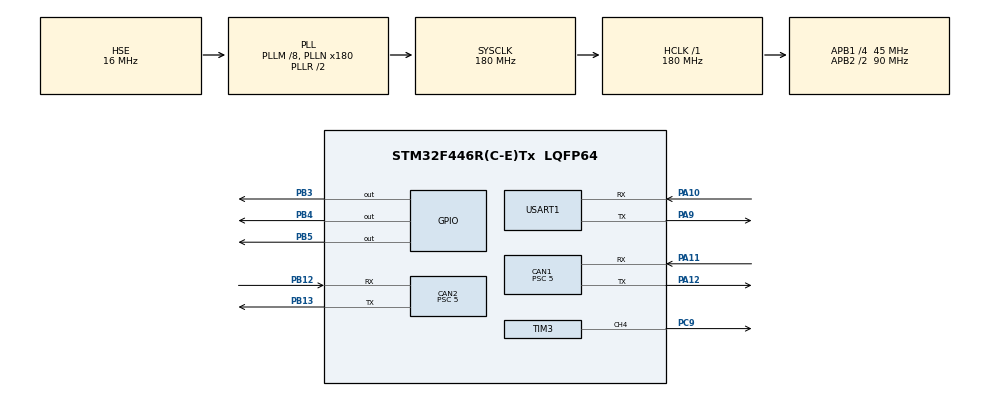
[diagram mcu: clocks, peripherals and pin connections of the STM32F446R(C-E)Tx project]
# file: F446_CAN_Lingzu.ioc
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CAN1.BS1=CAN_BS1_6TQ
CAN1.BS2=CAN_BS2_2TQ
CAN1.CalculateBaudRate=1000000
CAN1.CalculateTimeBit=1000
CAN1.CalculateTimeQuantum=111.11111111111111
CAN1.NART=DISABLE
CAN1.Prescaler=5
CAN2.BS1=CAN_BS1_6TQ
CAN2.BS2=CAN_BS2_2TQ
CAN2.CalculateBaudRate=1000000
CAN2.CalculateTimeBit=1000
CAN2.CalculateTimeQuantum=111.11111111111111
CAN2.NART=DISABLE
CAN2.Prescaler=5
FREERTOS.Tasks01=defaultTask,0,128,StartDefaultTask,Default,NULL,Dynamic,NULL,NULL;Motor_Contron_T,3,128,Motor_Contron_Task_Task,Default,NULL,Static,Motor_Contron_TaskBuffer,Motor_Contron_TaskControlBlock;CAN1_Decode_TAS,1,128,CAN1_Decode_Task,Default,NULL,Static,CAN1_Decode_TASBuffer,CAN1_Decode_TASControlBlock;CAN2_Decode_TAS,0,128,CAN2_Decode_Task,Default,NULL,Static,CAN2_Decode_TASBuffer,CAN2_Decode_TASControlBlock
FREERTOS.configUSE_NEWLIB_REENTRANT=1
Mcu.Family=STM32F4
Mcu.Name=STM32F446R(C-E)Tx
Mcu.Package=LQFP64
NVIC.CAN1_RX0_IRQn=true\:8\:0\:true\:false\:true\:true\:true\:true\:true
NVIC.CAN2_RX1_IRQn=true\:9\:0\:true\:false\:true\:true\:true\:true\:true
NVIC.PriorityGroup=NVIC_PRIORITYGROUP_4
NVIC.TIM1_UP_TIM10_IRQn=true\:15\:0\:false\:false\:true\:false\:false\:true\:true
NVIC.TimeBase=TIM1_UP_TIM10_IRQn
NVIC.TimeBaseIP=TIM1
NVIC.USART1_IRQn=true\:5\:0\:false\:false\:true\:true\:true\:true\:true
PA10.Mode=Asynchronous
PA10.Signal=USART1_RX
PA11.Mode=CAN_Activate
PA11.Signal=CAN1_RX
PA12.Mode=CAN_Activate
PA12.Signal=CAN1_TX
PA13.Mode=Serial_Wire
PA13.Signal=SYS_JTMS-SWDIO
PA14.Mode=Serial_Wire
PA14.Signal=SYS_JTCK-SWCLK
PA9.Mode=Asynchronous
PA9.Signal=USART1_TX
PB12.Mode=CAN_Activate
PB12.Signal=CAN2_RX
PB13.Mode=CAN_Activate
PB13.Signal=CAN2_TX
PB3.Signal=GPIO_Output
PB4.Signal=GPIO_Output
PB5.Signal=GPIO_Output
PC9.Signal=S_TIM3_CH4
PH0-OSC_IN.Mode=HSE-External-Oscillator
PH0-OSC_IN.Signal=RCC_OSC_IN
PH1-OSC_OUT.Mode=HSE-External-Oscillator
PH1-OSC_OUT.Signal=RCC_OSC_OUT
ProjectManager.HeapSize=0x200
ProjectManager.StackSize=0x400
ProjectManager.TargetToolchain=STM32CubeIDE
RCC.AHBFreq_Value=180000000
RCC.APB1CLKDivider=RCC_HCLK_DIV4
RCC.APB1Freq_Value=45000000
RCC.APB1TimFreq_Value=90000000
RCC.APB2CLKDivider=RCC_HCLK_DIV2
RCC.APB2Freq_Value=90000000
RCC.APB2TimFreq_Value=180000000
RCC.CortexFreq_Value=180000000
RCC.HCLKFreq_Value=180000000
RCC.HSE_VALUE=16000000
RCC.PLLM=8
RCC.PLLN=180
RCC.PLLSourceVirtual=RCC_PLLSOURCE_HSE
RCC.SYSCLKFreq_VALUE=180000000
RCC.SYSCLKSource=RCC_SYSCLKSOURCE_PLLRCLK
RCC.USBFreq_Value=180000000
RCC.VCOOutputFreq_Value=360000000
SH.S_TIM3_CH4.0=TIM3_CH4,PWM Generation4 CH4
TIM3.AutoReloadPreload=TIM_AUTORELOAD_PRELOAD_ENABLE
TIM3.Channel-PWM\ Generation4\ CH4=TIM_CHANNEL_4
TIM3.Period=500-1
TIM3.Prescaler=90-1
USART1.VirtualMode=VM_ASYNC
VP_FREERTOS_VS_CMSIS_V1.Mode=CMSIS_V1
VP_SYS_VS_tim1.Mode=TIM1
board=custom

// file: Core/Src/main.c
/* USER CODE BEGIN Header */
/**
  ******************************************************************************
  * @file           : main.c
  * @brief          : Main program body
  ******************************************************************************
  * @attention
  *
  * Copyright (c) 2024 STMicroelectronics.
  * All rights reserved.
  *
  * This software is licensed under terms that can be found in the LICENSE file
  * in the root directory of this software component.
  * If no LICENSE file comes with this software, it is provided AS-IS.
  *
  ******************************************************************************
  */
/* USER CODE END Header */
#include "main.h"
#include "cmsis_os.h"
#include "can.h"
#include "tim.h"
#include "usart.h"
#include "gpio.h"

void SystemClock_Config(void);
void MX_FREERTOS_Init(void);

int main(void)
{

  /* MCU Configuration--------------------------------------------------------*/

  /* Reset of all peripherals, Initializes the Flash interface and the Systick. */
  HAL_Init();

  /* Configure the system clock */
  SystemClock_Config();

  /* Initialize all configured peripherals */
  MX_GPIO_Init();
  MX_USART1_UART_Init();
  MX_CAN1_Init();
  MX_CAN2_Init();
  MX_TIM3_Init();

  /* Call init function for freertos objects (in freertos.c) */
  MX_FREERTOS_Init();

  /* Start scheduler */
  osKernelStart();

  /* We should never get here as control is now taken by the scheduler */
  /* Infinite loop */
  while (1)
  {

  }
}

void SystemClock_Config(void)
{
  RCC_OscInitTypeDef RCC_OscInitStruct = {0};
  RCC_ClkInitTypeDef RCC_ClkInitStruct = {0};

  /** Configure the main internal regulator output voltage
  */
  __HAL_RCC_PWR_CLK_ENABLE();
  __HAL_PWR_VOLTAGESCALING_CONFIG(PWR_REGULATOR_VOLTAGE_SCALE1);

  /** Initializes the RCC Oscillators according to the specified parameters
  * in the RCC_OscInitTypeDef structure.
  */
  RCC_OscInitStruct.OscillatorType = RCC_OSCILLATORTYPE_HSE;
  RCC_OscInitStruct.HSEState = RCC_HSE_ON;
  RCC_OscInitStruct.PLL.PLLState = RCC_PLL_ON;
  RCC_OscInitStruct.PLL.PLLSource = RCC_PLLSOURCE_HSE;
  RCC_OscInitStruct.PLL.PLLM = 8;
  RCC_OscInitStruct.PLL.PLLN = 180;
  RCC_OscInitStruct.PLL.PLLP = RCC_PLLP_DIV2;
  RCC_OscInitStruct.PLL.PLLQ = 2;
  RCC_OscInitStruct.PLL.PLLR = 2;
  if (HAL_RCC_OscConfig(&RCC_OscInitStruct) != HAL_OK)
  {
    Error_Handler();
  }

  /** Activate the Over-Drive mode
  */
  if (HAL_PWREx_EnableOverDrive() != HAL_OK)
  {
    Error_Handler();
  }

  /** Initializes the CPU, AHB and APB buses clocks
  */
  RCC_ClkInitStruct.ClockType = RCC_CLOCKTYPE_HCLK|RCC_CLOCKTYPE_SYSCLK
                              |RCC_CLOCKTYPE_PCLK1|RCC_CLOCKTYPE_PCLK2;
  RCC_ClkInitStruct.SYSCLKSource = RCC_SYSCLKSOURCE_PLLRCLK;
  RCC_ClkInitStruct.AHBCLKDivider = RCC_SYSCLK_DIV1;
  RCC_ClkInitStruct.APB1CLKDivider = RCC_HCLK_DIV4;
  RCC_ClkInitStruct.APB2CLKDivider = RCC_HCLK_DIV2;

  if (HAL_RCC_ClockConfig(&RCC_ClkInitStruct, FLASH_LATENCY_5) != HAL_OK)
  {
    Error_Handler();
  }
}

void HAL_TIM_PeriodElapsedCallback(TIM_HandleTypeDef *htim)
{
  if (htim->Instance == TIM1) {
    HAL_IncTick();
  }
}

void Error_Handler(void)
{
  __disable_irq();
  while (1)
  {
  }
}

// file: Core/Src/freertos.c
/* USER CODE BEGIN Header */
/**
  ******************************************************************************
  * File Name          : freertos.c
  * Description        : Code for freertos applications
  ******************************************************************************
  * @attention
  *
  * Copyright (c) 2024 STMicroelectronics.
  * All rights reserved.
  *
  * This software is licensed under terms that can be found in the LICENSE file
  * in the root directory of this software component.
  * If no LICENSE file comes with this software, it is provided AS-IS.
  *
  ******************************************************************************
  */
/* USER CODE END Header */

#include "FreeRTOS.h"
#include "task.h"
#include "main.h"
#include "cmsis_os.h"

/* USER CODE BEGIN Includes */
#include "usart.h"
#include "can.h"
#include "tim.h"
#include "math.h"

/* USER CODE END Includes */

/* USER CODE BEGIN PTD */
//声明
#define PI (3.1415926f)

#define BEEP_ON    __HAL_TIM_SET_COMPARE(&htim3,TIM_CHANNEL_4,400);
#define BEEP_OFF   __HAL_TIM_SET_COMPARE(&htim3,TIM_CHANNEL_4,0);

void Can_Bus_Motor_Init(void);

/* USER CODE END PTD */

osThreadId defaultTaskHandle;
osThreadId Motor_Contron_THandle;
uint32_t Motor_Contron_TaskBuffer[ 128 ];
osStaticThreadDef_t Motor_Contron_TaskControlBlock;
osThreadId CAN1_Decode_TASHandle;
uint32_t CAN1_Decode_TASBuffer[ 128 ];
osStaticThreadDef_t CAN1_Decode_TASControlBlock;
osThreadId CAN2_Decode_TASHandle;
uint32_t CAN2_Decode_TASBuffer[ 128 ];
osStaticThreadDef_t CAN2_Decode_TASControlBlock;

void StartDefaultTask(void const * argument);
void Motor_Contron_Task_Task(void const * argument);
void CAN1_Decode_Task(void const * argument);
void CAN2_Decode_Task(void const * argument);

void MX_FREERTOS_Init(void); /* (MISRA C 2004 rule 8.1) */

/* GetIdleTaskMemory prototype (linked to static allocation support) */
void vApplicationGetIdleTaskMemory( StaticTask_t **ppxIdleTaskTCBBuffer, StackType_t **ppxIdleTaskStackBuffer, uint32_t *pulIdleTaskStackSize );

/* USER CODE BEGIN GET_IDLE_TASK_MEMORY */
static StaticTask_t xIdleTaskTCBBuffer;
static StackType_t xIdleStack[configMINIMAL_STACK_SIZE];

void vApplicationGetIdleTaskMemory( StaticTask_t **ppxIdleTaskTCBBuffer, StackType_t **ppxIdleTaskStackBuffer, uint32_t *pulIdleTaskStackSize )
{
  *ppxIdleTaskTCBBuffer = &xIdleTaskTCBBuffer;
  *ppxIdleTaskStackBuffer = &xIdleStack[0];
  *pulIdleTaskStackSize = configMINIMAL_STACK_SIZE;
  /* place for user code */
}
/* USER CODE END GET_IDLE_TASK_MEMORY */

void MX_FREERTOS_Init(void) {

  /* Create the thread(s) */
  /* definition and creation of defaultTask */
  osThreadDef(defaultTask, StartDefaultTask, osPriorityNormal, 0, 128);
  defaultTaskHandle = osThreadCreate(osThread(defaultTask), NULL);

  /* definition and creation of Motor_Contron_T */
  osThreadStaticDef(Motor_Contron_T, Motor_Contron_Task_Task, osPriorityRealtime, 0, 128, Motor_Contron_TaskBuffer, &Motor_Contron_TaskControlBlock);
  Motor_Contron_THandle = osThreadCreate(osThread(Motor_Contron_T), NULL);

  /* definition and creation of CAN1_Decode_TAS */
  osThreadStaticDef(CAN1_Decode_TAS, CAN1_Decode_Task, osPriorityAboveNormal, 0, 128, CAN1_Decode_TASBuffer, &CAN1_Decode_TASControlBlock);
  CAN1_Decode_TASHandle = osThreadCreate(osThread(CAN1_Decode_TAS), NULL);

  /* definition and creation of CAN2_Decode_TAS */
  osThreadStaticDef(CAN2_Decode_TAS, CAN2_Decode_Task, osPriorityNormal, 0, 128, CAN2_Decode_TASBuffer, &CAN2_Decode_TASControlBlock);
  CAN2_Decode_TASHandle = osThreadCreate(osThread(CAN2_Decode_TAS), NULL);

}

void StartDefaultTask(void const * argument)
{
  /* USER CODE BEGIN StartDefaultTask */
	//配置滴答定时器的中断周期180000000 /10000U个机器周期（180Mhz），100us产生�????????次中�????????,即系统延时单位为0.1ms
	  HAL_SYSTICK_Config(180000000 /10000U);

  /* Infinite loop */
  for(;;)
  {
    LED0_ON
	osDelay(5000);//0.1ms
    LED0_OFF
	LED1_OFF
	LED2_OFF
    osDelay(5000);
  }
  /* USER CODE END StartDefaultTask */
}

/* USER CODE BEGIN Header_Motor_Contron_Task_Task */
/**
* @brief Function implementing the Motor_Contron_T thread.
* @param argument: Not used
* @retval None
*/

int run_count=0;
uint32_t err_spi;

//初始位置
float init_p_1=4;
float init_p_2=4;
//回零点的时间，ms
#define TO_ZERO_TIME 10000

float to_zero_speed=TO_ZERO_TIME;

int sin_time=12000;//正弦�?周期的时间，ms
float position_wide=0.5;//正弦角度范围rad

//初始化标�?
char init_flag=0;

//数据记录
float MAX_T=0;

/* USER CODE END Header_Motor_Contron_Task_Task */
void Motor_Contron_Task_Task(void const * argument)
{
  /* USER CODE BEGIN Motor_Contron_Task_Task */

	Can_Bus_Motor_Init();//电机初始�??
	HAL_TIM_PWM_Start(&htim3, TIM_CHANNEL_4);
	BEEP_ON
	osDelay(10000);
	BEEP_OFF

	//多发几次命令，读取初始角�?
	 ENABLE_ALL_MOTOR();
	 osDelay(500);
	 ENABLE_ALL_MOTOR();
	 osDelay(500);
	 ENABLE_ALL_MOTOR();
	 osDelay(500);

	//控制数据�?
	CAN_1.ID_1_Motor_send.position=0;
	CAN_1.ID_1_Motor_send.speed=0;
	CAN_1.ID_1_Motor_send.torque=0;
	CAN_1.ID_1_Motor_send.kp=60;
	CAN_1.ID_1_Motor_send.kd=2;

	CAN_2.ID_1_Motor_send.position=0;
	CAN_2.ID_1_Motor_send.speed=0;
	CAN_2.ID_1_Motor_send.torque=0;
	CAN_2.ID_1_Motor_send.kp=60;
	CAN_2.ID_1_Motor_send.kd=2;

	CAN_1.ID_4_Motor_send.position=0;
	CAN_1.ID_4_Motor_send.speed=1;
	CAN_1.ID_4_Motor_send.torque=0;
	CAN_1.ID_4_Motor_send.kp=0;
	CAN_1.ID_4_Motor_send.kd=0.5;

   //获取初始位置
	init_p_1=CAN_1.ID_1_Motor_recieve.current_position_f;
	init_p_2=CAN_2.ID_1_Motor_recieve.current_position_f;

	printf("init_p_1= %f rad",init_p_1);
	printf("init_p_2= %f rad",init_p_2);
  /* Infinite loop */
  for(;;)
  {
	run_count++;

	//回零
	if(init_flag==0)
	{
		if(to_zero_speed>0)
		{
			to_zero_speed--;
	       CAN_1.ID_1_Motor_send.position=init_p_1*(to_zero_speed/TO_ZERO_TIME);
	       CAN_2.ID_1_Motor_send.position=init_p_2*(to_zero_speed/TO_ZERO_TIME);
		}
		if(to_zero_speed<=0)
		{
			init_flag=1;
	        run_count=0;
		}
	}
	//正弦
	else if(init_flag==1)
	{
		CAN_1.ID_1_Motor_send.position=position_wide*sin(2.0*3.1415926*(float)run_count/sin_time);
		CAN_2.ID_1_Motor_send.position=position_wide*sin(2.0*3.1415926*(float)run_count/sin_time);
	}

	//RS04 CAN1
	CAN_Send_Control(&hcan1,&CAN_1.ID_1_Motor_send,CAN_TX_MAILBOX0);
	osDelay(2);//200US
	//RS04 CAN2
	CAN_Send_Control(&hcan2,&CAN_2.ID_1_Motor_send,CAN_TX_MAILBOX1);
	osDelay(2);//200US
	//RS02
	CAN_Send_Control(&hcan1,&CAN_1.ID_4_Motor_send,CAN_TX_MAILBOX0);
	osDelay(2);

	//
	if(CAN_1.ID_1_Motor_recieve.current_torque_f>MAX_T)MAX_T=CAN_1.ID_1_Motor_recieve.current_torque_f;

    //�?100ms打印�?�?
	if(run_count%100==0)
	{
	   //printf("Motor_Speed= %f rad/s = %f rpm \r\n\r\n",CAN_1.ID_4_Motor_recieve.current_speed_f,(CAN_1.ID_4_Motor_recieve.current_speed_f/2.0/3.141592*60));

		//printf("Motor_Position= %f rad\r\n",CAN_1.ID_1_Motor_recieve.current_position_f);

		printf("					Motor_Torque= %f NM 			MAX_T_back=  %f	NM\r\n\r\n",CAN_1.ID_1_Motor_recieve.current_torque_f,MAX_T);

		printf("Motor_Temp= %f C       fault_message=%d \r\n\r\n\r\n",CAN_1.ID_1_Motor_recieve.current_temp_f,CAN_1.ID_1_Motor_recieve.fault_message);
	}
	osDelay(4);//600us
  }
  /* USER CODE END Motor_Contron_Task_Task */
}

void CAN1_Decode_Task(void const * argument)
{
  /* USER CODE BEGIN CAN1_Decode_Task */
	uint32_t err;
  /* Infinite loop */
  for(;;)
  {
	  err=ulTaskNotifyTake(pdTRUE,portMAX_DELAY);
    if(err==1)
    {
    	LED1_ON

    	if(Motor_Recieve_Single_CAN1.master_id==0xfd)
    	{

    	Motor_Recieve_Single_CAN1.current_position_f=uint_to_float(Motor_Recieve_Single_CAN1.current_position,(-4.0*PI),(4.0*PI),16);
    	Motor_Recieve_Single_CAN1.current_speed_f=uint_to_float(Motor_Recieve_Single_CAN1.current_speed,(-15.0),(15.0),16);
    	Motor_Recieve_Single_CAN1.current_torque_f=uint_to_float(Motor_Recieve_Single_CAN1.current_torque,(-120.0),(120.0),16);
    	Motor_Recieve_Single_CAN1.current_temp_f=(float)Motor_Recieve_Single_CAN1.current_temp/10;

    	 switch(Motor_Recieve_Single_CAN1.motor_id)
			{
			  case 1://RS04电机
			  {
				  CAN_1.ID_1_Motor_recieve=Motor_Recieve_Single_CAN1;
				  break;
			  }
			  case 2://RS04电机
			  {
				  CAN_1.ID_2_Motor_recieve=Motor_Recieve_Single_CAN1;
				  break;
			  }
			  case 3://RS04电机
			  {
				  CAN_1.ID_3_Motor_recieve=Motor_Recieve_Single_CAN1;
				  break;
			  }
			  case 4://RS02电机
			  {
				  //RS02电机和RS04电机的角速度、力矩范围不�???�???
				  Motor_Recieve_Single_CAN1.current_speed_f=uint_to_float(Motor_Recieve_Single_CAN1.current_speed,(-44.0),(44.0),16);//
				  Motor_Recieve_Single_CAN1.current_torque_f=uint_to_float(Motor_Recieve_Single_CAN1.current_torque,(-17.0),(17.0),16);

				  CAN_1.ID_4_Motor_recieve=Motor_Recieve_Single_CAN1;
				  break;
			  }
			  default:
				  break;

			}
    	}
    }
  }
  /* USER CODE END CAN1_Decode_Task */
}

void CAN2_Decode_Task(void const * argument)
{
  /* USER CODE BEGIN CAN2_Decode_Task */
	uint32_t err;
	//记录接收到的次数，四个电机都接受到之后向上位机返回数�???
	static int RX_count=0;
  /* Infinite loop */
  for(;;)
  {
	 err= ulTaskNotifyTake(pdTRUE,portMAX_DELAY);
	   if(err==1)
	    {
		   LED2_ON
		   RX_count++;
		   if(Motor_Recieve_Single_CAN2.master_id==0xfd)
		       {

			   Motor_Recieve_Single_CAN2.current_position_f=uint_to_float(Motor_Recieve_Single_CAN2.current_position,(-4.0*PI),(4.0*PI),16);
			   Motor_Recieve_Single_CAN2.current_speed_f=uint_to_float(Motor_Recieve_Single_CAN2.current_speed,(-15.0),(15.0),16);//
			   Motor_Recieve_Single_CAN2.current_torque_f=uint_to_float(Motor_Recieve_Single_CAN2.current_torque,(-120.0),(120.0),16);
			   Motor_Recieve_Single_CAN2.current_temp_f=(float)Motor_Recieve_Single_CAN2.current_temp/10;

		       	 switch(Motor_Recieve_Single_CAN2.motor_id)
		   			{
		   			  case 1://RS04电机
		   			  {
		   				 CAN_2.ID_1_Motor_recieve=Motor_Recieve_Single_CAN2;
		   				  break;
		   			  }
		   			  case 2://RS04电机
		   			  {
		   				CAN_2.ID_2_Motor_recieve=Motor_Recieve_Single_CAN2;
		   				  break;
		   			  }
		   			  case 3://RS04电机
		   			  {
		   				CAN_2.ID_3_Motor_recieve=Motor_Recieve_Single_CAN2;
		   				  break;
		   			  }
		   			  case 4://RS02电机
		   			  {

		   				 Motor_Recieve_Single_CAN2.current_speed_f=uint_to_float(Motor_Recieve_Single_CAN2.current_speed,(-44.0),(44.0),16);//
		   				 Motor_Recieve_Single_CAN2.current_torque_f=uint_to_float(Motor_Recieve_Single_CAN2.current_torque,(-17.0),(17.0),16);
		   				 CAN_2.ID_4_Motor_recieve=Motor_Recieve_Single_CAN2;
		   				  break;
		   			  }
		   			  default:
		   				  break;

		   			}
		       	}

	    }
  }
  /* USER CODE END CAN2_Decode_Task */
}

/* USER CODE BEGIN Application */

/*
 * @brief 电机初始�???  设置腿结构体参数。电机信息，电机id，主机id,帧头的相关数�???,默认参数，限�???
 * */

void Can_Bus_Motor_Init(void)
{

	//其他参数设置
	CAN_1.ID_1_Motor_send.id=1;
	CAN_1.ID_1_Motor_send.res=0x04;
	CAN_1.ID_1_Motor_send.max_position=2;
	CAN_1.ID_1_Motor_send.min_position=-2;

	CAN_1.ID_2_Motor_send.id=2;
	CAN_1.ID_2_Motor_send.res=0x04;
	CAN_1.ID_2_Motor_send.max_position=2;
	CAN_1.ID_2_Motor_send.min_position=-2;

	CAN_1.ID_3_Motor_send.id=3;
	CAN_1.ID_3_Motor_send.res=0x04;
	CAN_1.ID_3_Motor_send.max_position=2;
	CAN_1.ID_3_Motor_send.min_position=-2;

	CAN_1.ID_4_Motor_send.id=4;
	CAN_1.ID_4_Motor_send.res=0x04;

	CAN_2.ID_1_Motor_send.id=1;
	CAN_2.ID_1_Motor_send.res=0x04;
	CAN_2.ID_1_Motor_send.max_position=2;
	CAN_2.ID_1_Motor_send.min_position=-2;

	CAN_2.ID_2_Motor_send.id=2;
	CAN_2.ID_2_Motor_send.res=0x04;
	CAN_2.ID_2_Motor_send.max_position=2;
	CAN_2.ID_2_Motor_send.min_position=-2;

	CAN_2.ID_3_Motor_send.id=3;
	CAN_2.ID_3_Motor_send.res=0x04;
	CAN_2.ID_3_Motor_send.max_position=2;
	CAN_2.ID_3_Motor_send.min_position=-2;

	CAN_2.ID_4_Motor_send.id=4;
	CAN_2.ID_4_Motor_send.res=0x04;

}

/* USER CODE END Application */
